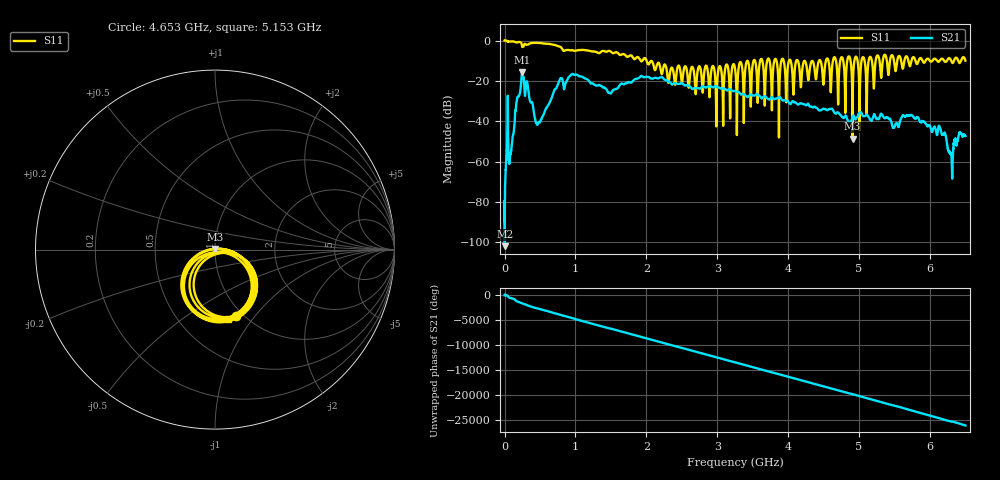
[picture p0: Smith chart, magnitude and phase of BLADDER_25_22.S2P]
!Keysight Technologies,E5063A,MY54503115,A.05.08
!Date: Sun Feb 04 18:54:18 2024
!Data & Calibration Information:
!Freq	S11:NONE(--)	S21:NONE(--)	S12:NONE(--)	S22:NONE(--)
# Hz S dB R 50
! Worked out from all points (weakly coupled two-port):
!   10001 points, 100 kHz to 6.5 GHz, reference 50 ohm
!   highest |S21| = -15.68 dB at 246.4 MHz (marker M1); lowest = -101.9 dB at 2.7 MHz (marker M2)
!   lowest |S11| = -48.7 dB at 4.908 GHz (marker M3), VSWR 1.01, Z = 50.2 + j0.329 ohm
!   |S11| at or under -10 dB: 2.004 GHz to 3.512 GHz (1.508 GHz wide, 54.7 % of centre); 4.035 GHz to 4.114 GHz (79.66 MHz wide, 1.95 % of centre); 4.136 GHz to 4.434 GHz (297.9 MHz wide, 6.95 % of centre) (the widest 3 of 29)
!   S12 and S22 are empty: the file has one direction only
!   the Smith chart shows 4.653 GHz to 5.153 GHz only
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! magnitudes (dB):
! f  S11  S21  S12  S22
! 100 kHz  0.0  -81.8  -  -
! 2.7 MHz  0.0  -101.9  -  -
! 37.8 MHz  -0.2  -46.6  -  -
! 89.15 MHz  -0.5  -55.6  -  -
! 246.4 MHz  -2.9  -15.7  -  -
! 470 MHz  -1.2  -41.0  -  -
! 783.3 MHz  -3.0  -18.9  -  -
! 1.084 GHz  -4.7  -17.9  -  -
! 1.484 GHz  -5.2  -26.0  -  -
! 2.167 GHz  -11.0  -18.6  -  -
! 3.25 GHz  -13.8  -25.0  -  -
! 4.334 GHz  -10.2  -32.9  -  -
! 4.805 GHz  -35.7  -37.2  -  -
! 4.857 GHz  -7.8  -40.2  -  -
! 4.908 GHz  -48.7  -37.9  -  -
! 4.956 GHz  -8.0  -38.9  -  -
! 5.006 GHz  -32.5  -35.8  -  -
! 5.056 GHz  -8.2  -37.5  -  -
! 5.417 GHz  -16.6  -38.7  -  -
! 6.143 GHz  -9.7  -43.1  -  -
! 6.293 GHz  -9.5  -55.9  -  -
! 6.5 GHz  -10.0  -47.3  -  -
